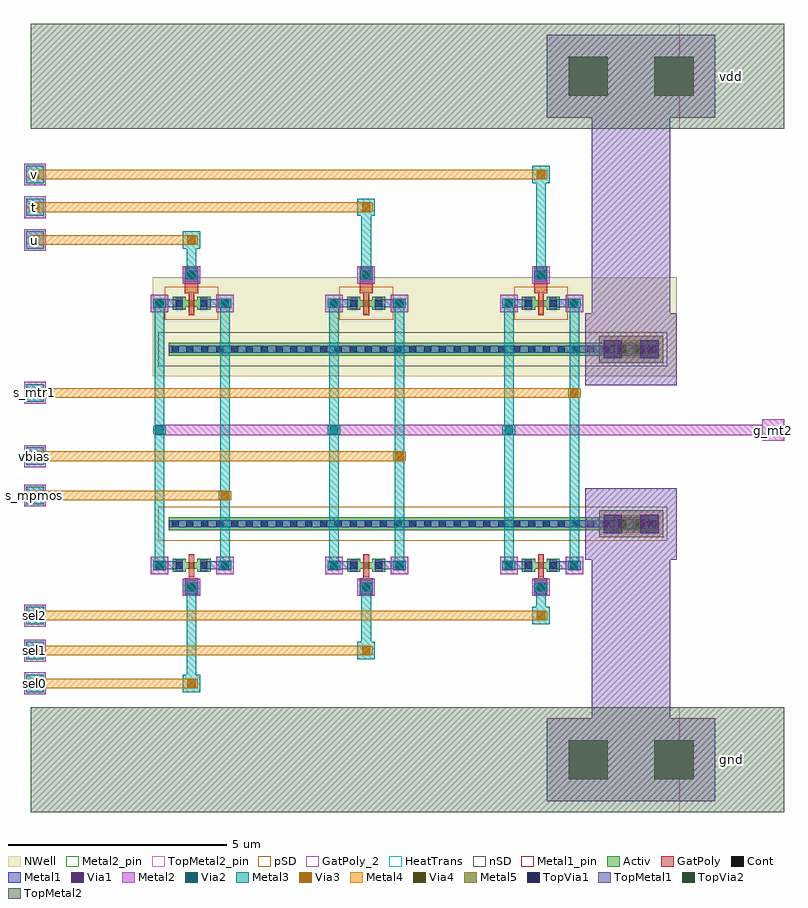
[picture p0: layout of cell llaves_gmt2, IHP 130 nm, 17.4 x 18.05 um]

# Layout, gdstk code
import gdstk
lib = gdstk.Library(unit=1e-6, precision=1e-09)
def R(c, l, rs):  # rectangles x0, y0, x1, y1
    for r in rs: c.add(gdstk.rectangle(r[:2], r[2:], *l))
def A(c, l, x, y, w, h, nx, ny, dx, dy):  # array of equal rectangles
    R(c, l, [(x+i*dx, y+j*dy, x+i*dx+w, y+j*dy+h) for i in range(nx) for j in range(ny)])
def P(c, l, *ps):  # polygons
    for p in ps: c.add(gdstk.Polygon(p, *l))
Activ = (1, 0)
GatPoly = (5, 0)
GatPoly_2 = (5, 2)
Cont = (6, 0)
nSD = (7, 0)
Metal1 = (8, 0)
Metal1_pin = (8, 2)
Metal2 = (10, 0)
Metal2_pin = (10, 2)
pSD = (14, 0)
Via1 = (19, 0)
Via2 = (29, 0)
Metal3 = (30, 0)
NWell = (31, 0)
Via3 = (49, 0)
Metal4 = (50, 0)
HeatTrans = (51, 0)
Via4 = (66, 0)
Metal5 = (67, 0)
TopVia1 = (125, 0)
TopMetal1 = (126, 0)
TopVia2 = (133, 0)
TopMetal2 = (134, 0)
TopMetal2_pin = (134, 2)

nmos = lib.new_cell('nmos')
R(nmos, Activ, [(0,0,0.3,0.3), (0.57,0,0.87,0.3), (0,0.075,0.87,0.225)])
R(nmos, GatPoly, [(0.37,-0.105,0.5,0.405)])
R(nmos, GatPoly_2, [(0.37,-0.105,0.5,0.405), (0.37,-0.105,0.5,0.405)])
R(nmos, Cont, [(0.07,0.07,0.23,0.23), (0.64,0.07,0.8,0.23)])
R(nmos, Metal1, [(0.07,0.02,0.23,0.28), (0.64,0.02,0.8,0.28)])
R(nmos, Metal1_pin, [(0.07,0.02,0.23,0.28), (0.07,0.02,0.23,0.28), (0.64,0.02,0.8,0.28), (0.64,0.02,0.8,0.28)])
R(nmos, HeatTrans, [(0.37,-0.105,0.5,0.405)])
nmos.add(gdstk.Label('nmos', (0.435,0.15), layer=63, texttype=0))
nmos.add(gdstk.Label('nmos', (0.435,0.15), layer=51, texttype=0))

pmos = lib.new_cell('pmos')
R(pmos, Activ, [(0,0,0.3,0.3), (0.57,0,0.87,0.3), (0,0.075,0.87,0.225)])
R(pmos, GatPoly, [(0.37,-0.105,0.5,0.405), (0.37,-0.105,0.5,0.405), (0.37,-0.105,0.5,0.405)])
R(pmos, Cont, [(0.07,0.07,0.23,0.23), (0.64,0.07,0.8,0.23)])
R(pmos, Metal1, [(0.07,0.02,0.23,0.28), (0.07,0.02,0.23,0.28), (0.07,0.02,0.23,0.28), (0.64,0.02,0.8,0.28), (0.64,0.02,0.8,0.28), (0.64,0.02,0.8,0.28)])
R(pmos, pSD, [(-0.18,-0.225,1.05,0.525)])
R(pmos, NWell, [(-0.31,-0.31,1.18,0.61)])
R(pmos, HeatTrans, [(0.37,-0.105,0.5,0.405)])
pmos.add(gdstk.Label('pmos', (0.435,0.15), layer=63, texttype=0))
pmos.add(gdstk.Label('pmos', (0.435,0.15), layer=51, texttype=0))

via_stack = lib.new_cell('via_stack')
R(via_stack, GatPoly, [(-0.15,-0.15,0.15,0.15)])
R(via_stack, Cont, [(-0.08,-0.08,0.08,0.08)])
R(via_stack, Metal1, [(-0.145,-0.105,0.145,0.105)])
R(via_stack, Metal2, [(-0.145,-0.1,0.145,0.1)])
R(via_stack, Via1, [(-0.095,-0.095,0.095,0.095)])
R(via_stack, Via2, [(-0.095,-0.095,0.095,0.095)])
R(via_stack, Metal3, [(-0.145,-0.1,0.145,0.1)])

via_stack_1 = lib.new_cell('via_stack$1')
R(via_stack_1, Metal3, [(-0.145,-0.1,0.145,0.1)])
R(via_stack_1, Via3, [(-0.095,-0.095,0.095,0.095)])
R(via_stack_1, Metal4, [(-0.145,-0.1,0.145,0.1)])

via_stack_2 = lib.new_cell('via_stack$2')
R(via_stack_2, Metal2, [(-0.145,-0.1,0.145,0.1)])
R(via_stack_2, Via2, [(-0.095,-0.095,0.095,0.095)])
R(via_stack_2, Metal3, [(-0.145,-0.1,0.145,0.1)])
R(via_stack_2, Via3, [(-0.095,-0.095,0.095,0.095)])
R(via_stack_2, Metal4, [(-0.145,-0.1,0.145,0.1)])

via_stack_3 = lib.new_cell('via_stack$3')
R(via_stack_3, Metal1, [(-0.145,-0.105,0.145,0.105)])
R(via_stack_3, Metal2, [(-0.145,-0.1,0.145,0.1)])
R(via_stack_3, Via1, [(-0.095,-0.095,0.095,0.095)])
R(via_stack_3, Via2, [(-0.095,-0.095,0.095,0.095)])
R(via_stack_3, Metal3, [(-0.145,-0.1,0.145,0.1)])

via_stack_4 = lib.new_cell('via_stack$4')
R(via_stack_4, Metal2, [(-0.145,-0.1,0.145,0.1)])
R(via_stack_4, Via2, [(-0.095,-0.095,0.095,0.095)])
R(via_stack_4, Metal3, [(-0.145,-0.1,0.145,0.1)])

via_stack_5 = lib.new_cell('via_stack$5')
R(via_stack_5, Activ, [(-5.59,-0.15,5.59,0.15)])
A(via_stack_5, Cont, -5.52, -0.08, 0.16, 0.16, 33, 1, 0.34, 0)
R(via_stack_5, Metal1, [(-5.57,-0.08,5.57,0.08)])

via_stack_6 = lib.new_cell('via_stack$6')
R(via_stack_6, Metal1, [(-0.35,-0.105,0.35,0.105)])
R(via_stack_6, Metal2, [(-0.35,-0.1,0.35,0.1)])
R(via_stack_6, Via1, [(-0.3,-0.095,-0.11,0.095), (0.11,-0.095,0.3,0.095)])
R(via_stack_6, Via2, [(-0.3,-0.095,-0.11,0.095), (0.11,-0.095,0.3,0.095)])
R(via_stack_6, Metal3, [(-0.35,-0.1,0.35,0.1)])
R(via_stack_6, Via3, [(-0.3,-0.095,-0.11,0.095), (0.11,-0.095,0.3,0.095)])
R(via_stack_6, Metal4, [(-0.35,-0.1,0.35,0.1)])
R(via_stack_6, Via4, [(-0.3,-0.095,-0.11,0.095), (0.11,-0.095,0.3,0.095)])
R(via_stack_6, Metal5, [(-0.73,-0.31,0.73,0.31)])
R(via_stack_6, TopVia1, [(-0.63,-0.21,-0.21,0.21), (0.21,-0.21,0.63,0.21)])
R(via_stack_6, TopMetal1, [(-1.05,-0.82,1.05,0.82)])

via_stack_7 = lib.new_cell('via_stack$7')
R(via_stack_7, TopMetal1, [(-1.93,-0.95,1.93,0.95)])
R(via_stack_7, TopVia2, [(-1.43,-0.45,-0.53,0.45), (0.53,-0.45,1.43,0.45)])
R(via_stack_7, TopMetal2, [(-1.93,-1,1.93,1)])

llaves_gmt2 = lib.new_cell('llaves_gmt2')
A(llaves_gmt2, GatPoly, 4.285, 3.48, 0.3, 0.38, 3, 1, 4, 0)
A(llaves_gmt2, GatPoly, 4.37, 3.82, 0.13, 0.59, 3, 1, 4, 0)
A(llaves_gmt2, GatPoly, 4.37, 9.88, 0.13, 1.12, 3, 1, 4, 0)
A(llaves_gmt2, GatPoly, 4.285, 10.38, 0.3, 0.62, 3, 1, 4, 0)
R(llaves_gmt2, nSD, [(3.67,8.71,15.33,9.49)])
A(llaves_gmt2, Metal1, 4.285, 3.49, 0.3, 0.32, 3, 2, 4, 7.15)
A(llaves_gmt2, Metal1, 3.61, 4.06, 0.63, 0.18, 3, 2, 4, 6)
A(llaves_gmt2, Metal1, 4.63, 4.06, 0.66, 0.18, 3, 2, 4, 6)
A(llaves_gmt2, Metal2, 4.235, 3.45, 0.4, 0.4, 3, 2, 4, 7.15)
A(llaves_gmt2, Metal2, 0.6, 11.35, 0.5, 0.5, 1, 3, 0, 0.75)
R(llaves_gmt2, Metal2, [(0.6,1.2,1.1,1.7), (0.6,1.95,1.1,2.45), (0.6,2.75,1.1,3.25), (3.5,3.95,3.9,4.35), (5,3.95,5.4,4.35), (7.5,3.95,7.9,4.35), (9,3.95,9.4,4.35), (11.5,3.95,11.9,4.35), (13,3.95,13.4,4.35), (14.1,4.9,14.9,5.3), (0.6,5.5,1.1,6), (0.6,6.4,1.1,6.9), (0.6,7.85,1.1,8.35), (14.1,8.9,14.9,9.3), (3.5,9.95,3.9,10.35), (5,9.95,5.4,10.35), (7.5,9.95,7.9,10.35), (9,9.95,9.4,10.35), (11.5,9.95,11.9,10.35), (13,9.95,13.4,10.35)])
P(llaves_gmt2, Metal2, [(17.5,7),(17.5,7.13),(3.6,7.13),(3.6,7.37),(17.5,7.37),(17.5,7.5),(18,7.5),(18,7)])
A(llaves_gmt2, Metal2_pin, 0.6, 11.35, 0.5, 0.5, 1, 3, 0, 0.75)
R(llaves_gmt2, Metal2_pin, [(0.6,1.2,1.1,1.7), (0.6,1.95,1.1,2.45), (0.6,2.75,1.1,3.25), (0.6,5.5,1.1,6), (0.6,6.4,1.1,6.9), (17.5,7,18,7.5), (0.6,7.85,1.1,8.35)])
R(llaves_gmt2, pSD, [(3.67,4.71,15.33,5.49)])
A(llaves_gmt2, Metal3, 0.65, 11.4, 0.4, 0.4, 1, 3, 0, 0.75)
R(llaves_gmt2, Metal3, [(0.65,1.25,1.05,1.65), (0.65,2,1.05,2.4), (0.65,2.8,1.05,3.2), (3.59,4.05,3.81,10.25), (5.09,4.05,5.31,10.25), (7.59,4.05,7.81,10.25), (9.09,4.05,9.31,10.25), (11.59,4.05,11.81,10.25), (13.09,4.05,13.31,10.25), (14.1,4.9,14.9,5.3), (0.65,5.55,1.05,5.95), (0.65,6.45,1.05,6.85), (0.65,7.9,1.05,8.3), (14.1,8.9,14.9,9.3)])
P(llaves_gmt2, Metal3, [(4.235,1.25),(4.235,1.65),(4.325,1.65),(4.325,3.75),(4.545,3.75),(4.545,1.65),(4.635,1.65),(4.635,1.25)],
  [(8.235,2),(8.235,2.4),(8.325,2.4),(8.325,3.75),(8.545,3.75),(8.545,2.4),(8.635,2.4),(8.635,2)],
  [(12.235,2.8),(12.235,3.2),(12.325,3.2),(12.325,3.75),(12.545,3.75),(12.545,3.2),(12.635,3.2),(12.635,2.8)],
  [(4.325,10.7),(4.325,11.4),(4.235,11.4),(4.235,11.8),(4.635,11.8),(4.635,11.4),(4.545,11.4),(4.545,10.7)],
  [(8.325,10.7),(8.325,12.15),(8.235,12.15),(8.235,12.55),(8.635,12.55),(8.635,12.15),(8.545,12.15),(8.545,10.7)],
  [(12.325,10.7),(12.325,12.9),(12.235,12.9),(12.235,13.3),(12.635,13.3),(12.635,12.9),(12.545,12.9),(12.545,10.7)])
R(llaves_gmt2, NWell, [(3.55,8.48,15.55,10.75)])
R(llaves_gmt2, Metal4, [(0.75,1.34,4.535,1.56), (0.75,2.09,8.535,2.31), (0.75,2.89,12.535,3.11), (14.1,4.9,14.9,5.3), (0.75,5.64,5.3,5.86), (0.75,6.54,9.3,6.76), (0.75,7.99,13.3,8.21), (14.1,8.9,14.9,9.3), (0.75,11.49,4.535,11.71), (0.75,12.24,8.535,12.46), (0.75,12.99,12.535,13.21)])
R(llaves_gmt2, TopMetal1, [(13.6,-0.4,15.4,5.2), (13.6,9,15.4,15.45)])
R(llaves_gmt2, TopMetal2, [(0.75,-1.5,18,0.9), (0.75,14.15,18,16.55)])
R(llaves_gmt2, TopMetal2_pin, [(15.6,-1.5,18,0.9), (15.6,14.15,18,16.55)])
llaves_gmt2.add(gdstk.Reference(nmos, (4,4)))
llaves_gmt2.add(gdstk.Reference(pmos, (4,10)))
llaves_gmt2.add(gdstk.Reference(via_stack, (4.435,3.65)))
llaves_gmt2.add(gdstk.Reference(via_stack_1, (4.435,1.45)))
llaves_gmt2.add(gdstk.Reference(via_stack_2, (0.85,1.45)))
llaves_gmt2.add(gdstk.Reference(via_stack, (4.435,10.8)))
llaves_gmt2.add(gdstk.Reference(via_stack_1, (4.435,11.6)))
llaves_gmt2.add(gdstk.Reference(via_stack_2, (0.85,11.6)))
llaves_gmt2.add(gdstk.Reference(via_stack_3, (3.7,4.15)))
llaves_gmt2.add(gdstk.Reference(via_stack_3, (5.2,4.15)))
llaves_gmt2.add(gdstk.Reference(via_stack_3, (3.7,10.15)))
llaves_gmt2.add(gdstk.Reference(via_stack_3, (5.2,10.15)))
llaves_gmt2.add(gdstk.Reference(via_stack_4, (3.7,7.25)))
llaves_gmt2.add(gdstk.Reference(via_stack_1, (5.2,5.75)))
llaves_gmt2.add(gdstk.Reference(via_stack_2, (0.85,5.75)))
llaves_gmt2.add(gdstk.Reference(nmos, (8,4)))
llaves_gmt2.add(gdstk.Reference(pmos, (8,10)))
llaves_gmt2.add(gdstk.Reference(via_stack, (8.435,3.65)))
llaves_gmt2.add(gdstk.Reference(via_stack_1, (8.435,2.2)))
llaves_gmt2.add(gdstk.Reference(via_stack_2, (0.85,2.2)))
llaves_gmt2.add(gdstk.Reference(via_stack, (8.435,10.8)))
llaves_gmt2.add(gdstk.Reference(via_stack_1, (8.435,12.35)))
llaves_gmt2.add(gdstk.Reference(via_stack_2, (0.85,12.35)))
llaves_gmt2.add(gdstk.Reference(via_stack_3, (7.7,4.15)))
llaves_gmt2.add(gdstk.Reference(via_stack_3, (9.2,4.15)))
llaves_gmt2.add(gdstk.Reference(via_stack_3, (7.7,10.15)))
llaves_gmt2.add(gdstk.Reference(via_stack_3, (9.2,10.15)))
llaves_gmt2.add(gdstk.Reference(via_stack_4, (7.7,7.25)))
llaves_gmt2.add(gdstk.Reference(via_stack_1, (9.2,6.65)))
llaves_gmt2.add(gdstk.Reference(via_stack_2, (0.85,6.65)))
llaves_gmt2.add(gdstk.Reference(nmos, (12,4)))
llaves_gmt2.add(gdstk.Reference(pmos, (12,10)))
llaves_gmt2.add(gdstk.Reference(via_stack, (12.435,3.65)))
llaves_gmt2.add(gdstk.Reference(via_stack_1, (12.435,3)))
llaves_gmt2.add(gdstk.Reference(via_stack_2, (0.85,3)))
llaves_gmt2.add(gdstk.Reference(via_stack, (12.435,10.8)))
llaves_gmt2.add(gdstk.Reference(via_stack_1, (12.435,13.1)))
llaves_gmt2.add(gdstk.Reference(via_stack_2, (0.85,13.1)))
llaves_gmt2.add(gdstk.Reference(via_stack_3, (11.7,4.15)))
llaves_gmt2.add(gdstk.Reference(via_stack_3, (13.2,4.15)))
llaves_gmt2.add(gdstk.Reference(via_stack_3, (11.7,10.15)))
llaves_gmt2.add(gdstk.Reference(via_stack_3, (13.2,10.15)))
llaves_gmt2.add(gdstk.Reference(via_stack_4, (11.7,7.25)))
llaves_gmt2.add(gdstk.Reference(via_stack_1, (13.2,8.1)))
llaves_gmt2.add(gdstk.Reference(via_stack_2, (0.85,8.1)))
llaves_gmt2.add(gdstk.Reference(via_stack_5, (9.5,5.1)))
llaves_gmt2.add(gdstk.Reference(via_stack_5, (9.5,9.1)))
llaves_gmt2.add(gdstk.Reference(via_stack_6, (14.5,5.1)))
llaves_gmt2.add(gdstk.Reference(via_stack_7, (14.5,-0.3)))
llaves_gmt2.add(gdstk.Reference(via_stack_6, (14.5,9.1)))
llaves_gmt2.add(gdstk.Reference(via_stack_7, (14.5,15.35)))
llaves_gmt2.add(gdstk.Label('sel0', (0.85,1.45), layer=10, texttype=25))
llaves_gmt2.add(gdstk.Label('u', (0.85,11.6), layer=10, texttype=25))
llaves_gmt2.add(gdstk.Label('s_mpmos', (0.85,5.75), layer=10, texttype=25))
llaves_gmt2.add(gdstk.Label('sel1', (0.85,2.2), layer=10, texttype=25))
llaves_gmt2.add(gdstk.Label('t', (0.85,12.35), layer=10, texttype=25))
llaves_gmt2.add(gdstk.Label('vbias', (0.85,6.65), layer=10, texttype=25))
llaves_gmt2.add(gdstk.Label('sel2', (0.85,3), layer=10, texttype=25))
llaves_gmt2.add(gdstk.Label('v', (0.85,13.1), layer=10, texttype=25))
llaves_gmt2.add(gdstk.Label('s_mtr1', (0.85,8.1), layer=10, texttype=25))
llaves_gmt2.add(gdstk.Label('g_mt2', (17.75,7.25), layer=10, texttype=25))
llaves_gmt2.add(gdstk.Label('gnd', (16.8,-0.3), layer=134, texttype=25))
llaves_gmt2.add(gdstk.Label('vdd', (16.8,15.35), layer=134, texttype=25))

lib.write_gds('llaves_gmt2.gds')
